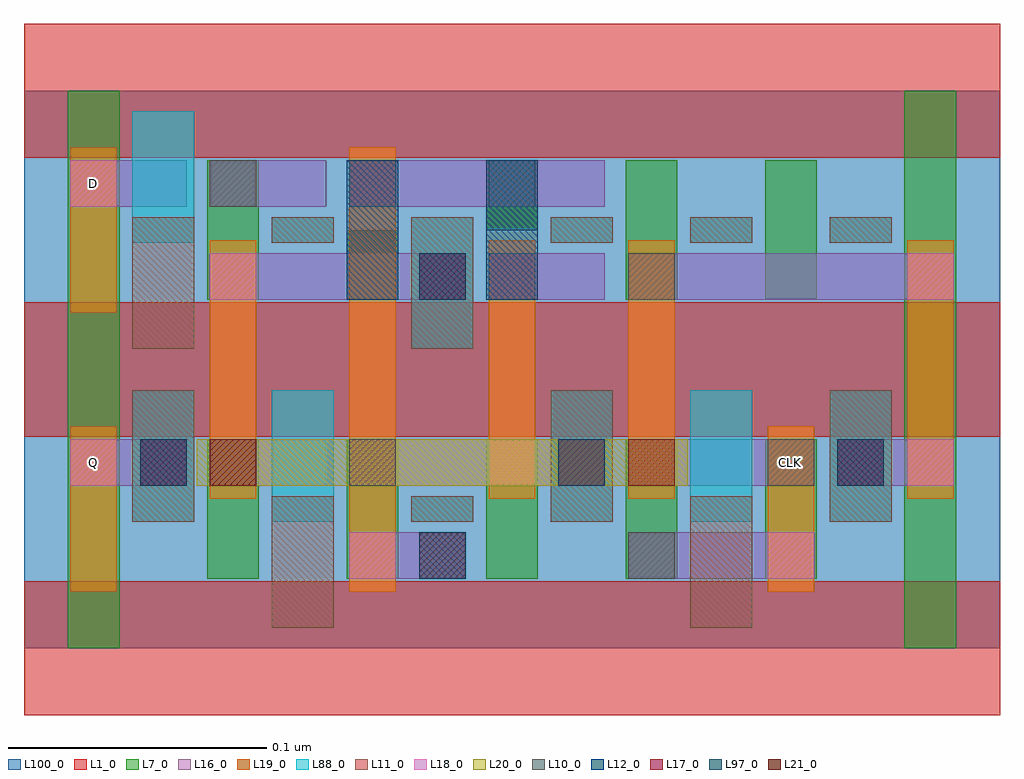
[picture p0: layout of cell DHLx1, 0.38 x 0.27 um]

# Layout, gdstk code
import gdstk
lib = gdstk.Library(unit=1e-6, precision=2.5e-10)
def R(c, l, rs):  # rectangles x0, y0, x1, y1
    for r in rs: c.add(gdstk.rectangle(r[:2], r[2:], *l))
def A(c, l, x, y, w, h, nx, ny, dx, dy):  # array of equal rectangles
    R(c, l, [(x+i*dx, y+j*dy, x+i*dx+w, y+j*dy+h) for i in range(nx) for j in range(ny)])
L1_0 = (1, 0)
L7_0 = (7, 0)
L10_0 = (10, 0)
L11_0 = (11, 0)
L12_0 = (12, 0)
L16_0 = (16, 0)
L17_0 = (17, 0)
L18_0 = (18, 0)
L19_0 = (19, 0)
L20_0 = (20, 0)
L21_0 = (21, 0)
L88_0 = (88, 0)
L97_0 = (97, 0)
L100_0 = (100, 0)

dhlx1 = lib.new_cell('DHLx1')
A(dhlx1, L1_0, 0, -0.026, 0.378, 0.052, 1, 3, 0, 0.108)
A(dhlx1, L7_0, 0.071, 0.027, 0.02, 0.054, 5, 1, 0.054, 0)
R(dhlx1, L7_0, [(0.017,0,0.037,0.108), (0.341,0,0.361,0.108), (0.017,0.108,0.037,0.216), (0.341,0.108,0.361,0.216), (0.071,0.135,0.091,0.189), (0.125,0.135,0.145,0.162), (0.233,0.135,0.253,0.189), (0.287,0.135,0.307,0.189), (0.179,0.162,0.199,0.189)])
A(dhlx1, L10_0, 0.072, 0.171, 0.018, 0.018, 3, 1, 0.054, 0)
R(dhlx1, L10_0, [(0.234,0.027,0.252,0.045), (0.072,0.063,0.09,0.081), (0.126,0.063,0.144,0.081), (0.288,0.063,0.306,0.081), (0.18,0.135,0.198,0.153), (0.234,0.135,0.252,0.153)])
A(dhlx1, L11_0, 0.204, 0.157, 0.024, 0.01, 3, 1, 0.054, 0)
R(dhlx1, L11_0, [(0.096,0.008,0.12,0.059), (0.258,0.008,0.282,0.059), (0.042,0.049,0.066,0.1), (0.15,0.049,0.174,0.059), (0.204,0.049,0.228,0.1), (0.312,0.049,0.336,0.1), (0.042,0.116,0.066,0.167), (0.15,0.116,0.174,0.167), (0.096,0.157,0.12,0.167)])
R(dhlx1, L12_0, [(0.125,0.135,0.145,0.189), (0.179,0.135,0.199,0.189)])
R(dhlx1, L16_0, [(0.126,0.027,0.171,0.045), (0.234,0.027,0.306,0.045), (0.018,0.063,0.063,0.081), (0.072,0.063,0.117,0.081), (0.126,0.063,0.225,0.081), (0.234,0.063,0.306,0.081), (0.315,0.063,0.36,0.081), (0.072,0.135,0.171,0.153), (0.18,0.135,0.225,0.153), (0.234,0.135,0.36,0.153), (0.018,0.171,0.063,0.189), (0.072,0.171,0.117,0.189), (0.126,0.171,0.225,0.189)])
R(dhlx1, L17_0, [(0.153,0.027,0.171,0.045), (0.045,0.063,0.063,0.081), (0.207,0.063,0.225,0.081), (0.315,0.063,0.333,0.081), (0.153,0.135,0.171,0.153)])
R(dhlx1, L18_0, [(0.126,0.027,0.144,0.045), (0.288,0.027,0.306,0.045), (0.018,0.063,0.036,0.081), (0.072,0.063,0.09,0.081), (0.18,0.063,0.198,0.081), (0.234,0.063,0.252,0.081), (0.342,0.063,0.36,0.081), (0.072,0.135,0.09,0.153), (0.18,0.135,0.198,0.153), (0.342,0.135,0.36,0.153), (0.018,0.171,0.036,0.189), (0.126,0.171,0.144,0.189)])
R(dhlx1, L19_0, [(0.018,0.022,0.036,0.086), (0.126,0.022,0.144,0.194), (0.288,0.022,0.306,0.086), (0.072,0.058,0.09,0.158), (0.18,0.058,0.198,0.158), (0.234,0.058,0.252,0.158), (0.342,0.058,0.36,0.158), (0.018,0.13,0.036,0.194)])
R(dhlx1, L20_0, [(0.067,0.063,0.257,0.081)])
R(dhlx1, L21_0, [(0.072,0.063,0.09,0.081), (0.234,0.063,0.252,0.081)])
A(dhlx1, L88_0, 0.204, 0.049, 0.024, 0.051, 3, 1, 0.054, 0)
A(dhlx1, L88_0, 0.204, 0.157, 0.024, 0.01, 3, 1, 0.054, 0)
R(dhlx1, L88_0, [(0.042,0.049,0.066,0.1), (0.096,0.049,0.12,0.1), (0.15,0.049,0.174,0.059), (0.15,0.116,0.174,0.167), (0.042,0.157,0.066,0.208), (0.096,0.157,0.12,0.167)])
R(dhlx1, L97_0, [(0.153,0.027,0.171,0.045), (0.045,0.063,0.063,0.081), (0.207,0.063,0.225,0.081), (0.315,0.063,0.333,0.081), (0.153,0.135,0.171,0.153)])
R(dhlx1, L100_0, [(0,0,0.378,0.216)])
dhlx1.add(gdstk.Label('CLK', (0.297,0.072), layer=19, texttype=251))
dhlx1.add(gdstk.Label('D', (0.027,0.18), layer=19, texttype=251))
dhlx1.add(gdstk.Label('Q', (0.027,0.072), layer=19, texttype=251))

lib.write_gds('DHLx1.gds')
